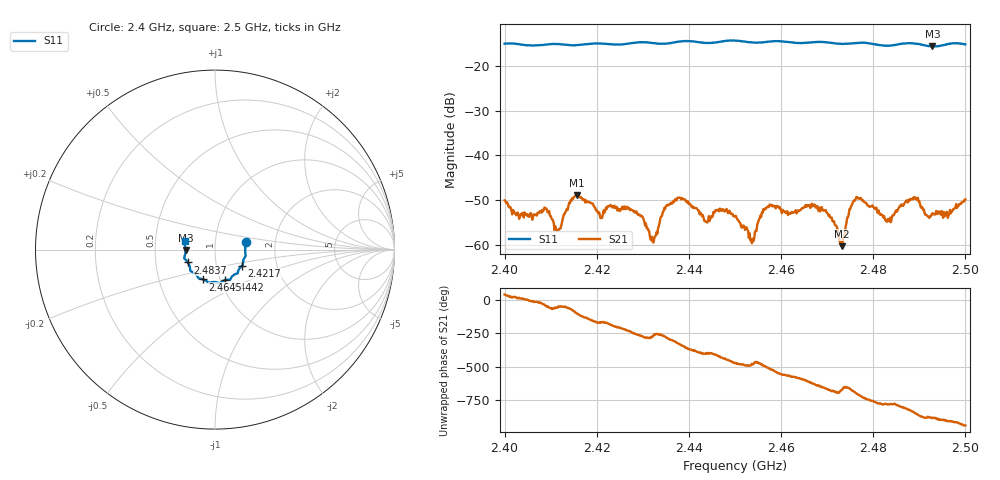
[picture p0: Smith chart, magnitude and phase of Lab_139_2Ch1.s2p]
# Hz S RI R
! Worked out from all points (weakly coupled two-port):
!   601 points, 2.4 GHz to 2.5 GHz, reference 50 ohm
!   highest |S21| = -48.89 dB at 2.4157 GHz (marker M1); lowest = -60.2 dB at 2.4732 GHz (marker M2)
!   lowest |S11| = -15.7 dB at 2.4928 GHz (marker M3), VSWR 1.39, Z = 35.9 - j0.363 ohm
!   |S11| at or under -10 dB: start of sweep to end of sweep
!   S12 and S22 are empty: the file has one direction only
!   S11 on the Smith chart (normalised r, x): 2.4 GHz: 1.41, +0.12; 2.4217 GHz: 1.33, -0.25; 2.4442 GHz: 1.05, -0.37; 2.4645 GHz: 0.83, -0.29; 2.4837 GHz: 0.73, -0.11; 2.5 GHz: 0.71, +0.07
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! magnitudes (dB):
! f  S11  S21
! 2.4 GHz  -15.1  -50.0
! 2.4092 GHz  -15.3  -52.1
! 2.4117 GHz  -15.2  -56.5
! 2.4157 GHz  -15.4  -48.9
! 2.4167 GHz  -15.3  -49.4
! 2.4217 GHz  -15.1  -52.8
! 2.432 GHz  -14.9  -58.1
! 2.4333 GHz  -15.1  -56.1
! 2.438 GHz  -14.6  -49.4
! 2.4442 GHz  -15.0  -54.5
! 2.45 GHz  -14.4  -53.6
! 2.4537 GHz  -14.8  -59.6
! 2.4573 GHz  -14.7  -51.5
! 2.4645 GHz  -15.0  -51.8
! 2.4667 GHz  -14.8  -50.8
! 2.4732 GHz  -15.1  -60.2
! 2.4765 GHz  -14.9  -49.3
! 2.4833 GHz  -15.6  -54.5
! 2.4837 GHz  -15.5  -53.9
! 2.4885 GHz  -15.0  -49.6
! 2.4928 GHz  -15.7  -52.9
! 2.5 GHz  -15.3  -49.8
